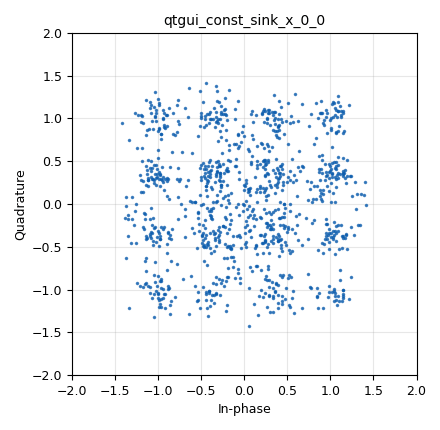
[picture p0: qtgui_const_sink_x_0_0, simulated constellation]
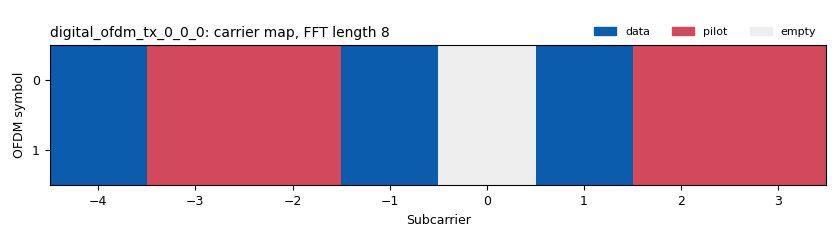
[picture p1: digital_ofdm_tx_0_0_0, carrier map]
options:
  parameters:
    author: spyr kon
    generate_options: qt_gui
    id: PanTransmitter
    output_language: python
    title: pantransmitter alpha
  states: {}

blocks:
- name: CenterFreq
  id: variable_qtgui_entry
  parameters:
    gui_hint: 3,0,1,5
    label: Center Frequency (Hz)
    type: real
    value: 915e6
  states: {}
- name: bandwidth
  id: variable_qtgui_entry
  parameters:
    gui_hint: 2,0,1,5
    label: Bandwidth (Hz)
    type: real
    value: 1e6
  states: {}
- name: cpm_BT
  id: variable_qtgui_entry
  parameters:
    gui_hint: 'tab_id@5 : 4,0,1,5'
    label: BT
    type: real
    value: '300e-3'
  states: {}
- name: cpm_en
  id: variable_qtgui_check_box
  parameters:
    'false': '0'
    gui_hint: 0,5
    label: CPM
    'true': '1'
    type: int
    value: '0'
  states: {}
- name: cpm_mod_index
  id: variable_qtgui_entry
  parameters:
    gui_hint: 'tab_id@5 : 1,0,1,5'
    label: Modulation Index
    type: real
    value: '500e-3'
  states: {}
- name: cpm_pulse_duration
  id: variable_qtgui_entry
  parameters:
    gui_hint: 'tab_id@5 : 3,0,1,5'
    label: Pulse Duration
    type: int
    value: '4'
  states: {}
- name: cpm_spsym
  id: variable_qtgui_entry
  parameters:
    gui_hint: 'tab_id@5 : 2,0,1,5'
    label: Samples Per Symbol
    type: int
    value: '4'
  states: {}
- name: fft_len
  id: variable_qtgui_entry
  parameters:
    gui_hint: 'tab_id@1 : 1,0,1,5'
    label: FFT
    type: int
    value: '8'
  states: {}
- name: gfsk_en
  id: variable_qtgui_check_box
  parameters:
    'false': '0'
    gui_hint: 0,2
    label: GFSK
    'true': '1'
    type: int
    value: '0'
  states: {}
- name: gmsk_BT
  id: variable_qtgui_entry
  parameters:
    gui_hint: 'tab_id@0 : 2,0,1,5'
    label: BT
    type: real
    value: '350e-3'
  states: {}
- name: gmsk_en
  id: variable_qtgui_check_box
  parameters:
    'false': '0'
    gui_hint: 0,0
    label: GMSK
    'true': '1'
    type: int
    value: '0'
  states: {}
- name: gmsk_samp
  id: variable_qtgui_entry
  parameters:
    gui_hint: 'tab_id@0 : 1,0,1,5'
    label: Samples Per Symbol
    type: int
    value: '2'
  states: {}
- name: occ_carr
  id: variable_qtgui_entry
  parameters:
    gui_hint: 'tab_id@1 : 3,0,1,5'
    label: Occupied carriers
    type: raw
    value: ((-4,-3,-2,-1,1,2,3,4),)
  states: {}
- name: ofdm1
  id: variable_qtgui_check_box
  parameters:
    'false': '0'
    gui_hint: 'tab_id@1 : 0,0'
    label: ofdm1
    'true': '1'
    type: int
    value: '0'
  states: {}
- name: ofdm2
  id: variable_qtgui_check_box
  parameters:
    'false': '0'
    gui_hint: 'tab_id@1 : 0,1'
    label: ofdm2
    'true': '1'
    type: int
    value: '0'
  states: {}
- name: ofdm3
  id: variable_qtgui_check_box
  parameters:
    'false': '0'
    gui_hint: 'tab_id@1 : 0,2'
    label: ofdm3
    'true': '1'
    type: int
    value: '0'
  states: {}
- name: ofdm4
  id: variable_qtgui_check_box
  parameters:
    'false': '0'
    gui_hint: 'tab_id@1 : 0,3'
    label: ofdm4
    'true': '1'
    type: int
    value: '0'
  states: {}
- name: ofdm5
  id: variable_qtgui_check_box
  parameters:
    'false': '0'
    gui_hint: 'tab_id@1 : 0,4'
    label: ofdm5
    'true': '1'
    type: int
    value: '1'
  states: {}
- name: ofdm6
  id: variable_qtgui_check_box
  parameters:
    'false': '0'
    gui_hint: 'tab_id@1 : 0,5'
    label: ofdm6
    'true': '1'
    type: int
    value: '0'
  states: {}
- name: ofdm_en
  id: variable_qtgui_check_box
  parameters:
    'false': '0'
    gui_hint: 0,1
    label: OFDM
    'true': '1'
    type: int
    value: '0'
  states: {}
- name: packet_len
  id: variable_qtgui_entry
  parameters:
    gui_hint: 'tab_id@1 : 2,0,1,5'
    label: Packet Length
    type: int
    value: '100'
  states: {}
- name: plt_carr
  id: variable_qtgui_entry
  parameters:
    gui_hint: 'tab_id@1 : 4,0,1,5'
    label: Pilot carriers
    type: raw
    value: ((-6,-5,5,6),)
  states: {}
- name: plt_smbl
  id: variable_qtgui_entry
  parameters:
    gui_hint: 'tab_id@1 : 5,0,1,5'
    label: Pilot symbols
    type: raw
    value: ((-1,1,-1,1),)
  states: {}
- name: psk_BW
  id: variable_qtgui_entry
  parameters:
    gui_hint: 'tab_id@3 : 3,0,1,5'
    label: Excess BW
    type: real
    value: '350e-3'
  states: {}
- name: psk_en
  id: variable_qtgui_check_box
  parameters:
    'false': '0'
    gui_hint: 0,3
    label: PSK
    'true': '1'
    type: int
    value: '0'
  states: {}
- name: psk_num
  id: variable_qtgui_entry
  parameters:
    gui_hint: 'tab_id@3 : 1,0,1,5'
    label: Number of points
    type: int
    value: '8'
  states: {}
- name: psk_samp_per_symb
  id: variable_qtgui_entry
  parameters:
    gui_hint: 'tab_id@3 : 2,0,1,5'
    label: Samples per Symbol
    type: int
    value: '2'
  states: {}
- name: qam_BW
  id: variable_qtgui_entry
  parameters:
    gui_hint: 'tab_id@4 : 2,0,1,5'
    label: Excess BW
    type: real
    value: '350e-3'
  states: {}
- name: qam_en
  id: variable_qtgui_check_box
  parameters:
    'false': '0'
    gui_hint: 0,4
    label: QAM
    'true': '1'
    type: int
    value: '1'
  states: {}
- name: qam_samp_per_symb
  id: variable_qtgui_entry
  parameters:
    gui_hint: 'tab_id@4 : 1,0,1,5'
    label: Samples per Symbol
    type: int
    value: '2'
  states: {}
- name: samp_rate
  id: variable_qtgui_entry
  parameters:
    gui_hint: 1,0,1,5
    label: Sample Rate (sps)
    type: real
    value: 4e6
  states: {}
- name: txpower
  id: variable_qtgui_entry
  parameters:
    gui_hint: 5,0,1,5
    label: TX Power (0-1)
    type: real
    value: '0.1'
  states: {}
- name: variable_constellation_0
  id: variable_constellation
  parameters:
    precision: '64'
    sym_map: '[0, 4, 12, 8, 1, 5, 13, 9, 3, 7, 15, 11, 2, 6, 14, 10]'
    type: 16qam
  states: {}
- name: analog_const_source_x_0
  id: analog_const_source_x
  parameters:
    const: gmsk_en
    type: complex
  states: {}
- name: analog_const_source_x_0_0
  id: analog_const_source_x
  parameters:
    const: ofdm_en
    type: complex
  states: {}
- name: analog_const_source_x_0_0_0
  id: analog_const_source_x
  parameters:
    const: gfsk_en
    type: complex
  states: {}
- name: analog_const_source_x_0_0_0_0
  id: analog_const_source_x
  parameters:
    const: qam_en
    type: complex
  states: {}
- name: analog_const_source_x_0_0_0_0_0_0_0
  id: analog_const_source_x
  parameters:
    const: psk_en
    type: complex
  states: {}
- name: analog_const_source_x_0_0_0_0_0_0_0_0
  id: analog_const_source_x
  parameters:
    const: cpm_en
    type: complex
  states: {}
- name: analog_const_source_x_0_0_1
  id: analog_const_source_x
  parameters:
    const: ofdm1
    type: complex
  states: {}
- name: analog_const_source_x_0_0_1_0
  id: analog_const_source_x
  parameters:
    const: ofdm2
    type: complex
  states: {}
- name: analog_const_source_x_0_0_1_0_0
  id: analog_const_source_x
  parameters:
    const: ofdm3
    type: complex
  states: {}
- name: analog_const_source_x_0_0_1_0_0_0
  id: analog_const_source_x
  parameters:
    const: ofdm4
    type: complex
  states: {}
- name: analog_const_source_x_0_0_1_0_0_0_0
  id: analog_const_source_x
  parameters:
    const: ofdm5
    type: complex
  states: {}
- name: analog_const_source_x_0_0_1_0_0_0_0_0
  id: analog_const_source_x
  parameters:
    const: ofdm6
    type: complex
  states: {}
- name: analog_random_source_x_0
  id: analog_random_source_x
  parameters:
    max: '255'
    min: '0'
    num_samps: '1000'
    repeat: 'True'
    type: byte
  states: {}
- name: analog_random_source_x_0_0
  id: analog_random_source_x
  parameters:
    max: '255'
    min: '0'
    num_samps: '1000'
    repeat: 'True'
    type: byte
  states: {}
- name: analog_random_source_x_0_0_0
  id: analog_random_source_x
  parameters:
    max: '255'
    min: '0'
    num_samps: '1000'
    repeat: 'True'
    type: byte
  states: {}
- name: analog_random_source_x_0_0_0_0
  id: analog_random_source_x
  parameters:
    max: '255'
    min: '0'
    num_samps: '1000'
    repeat: 'True'
    type: byte
  states: {}
- name: analog_random_source_x_0_0_0_0_0
  id: analog_random_source_x
  parameters:
    max: '255'
    min: '0'
    num_samps: '1000'
    repeat: 'True'
    type: byte
  states: {}
- name: analog_random_source_x_0_0_0_0_0_0
  id: analog_random_source_x
  parameters:
    max: '255'
    min: '0'
    num_samps: '1000'
    repeat: 'True'
    type: byte
  states: {}
- name: blocks_add_xx_0
  id: blocks_add_xx
  parameters:
    num_inputs: '6'
    type: complex
  states: {}
- name: blocks_add_xx_0_0
  id: blocks_add_xx
  parameters:
    num_inputs: '6'
    type: complex
  states: {}
- name: blocks_float_to_uchar_0
  id: blocks_float_to_uchar
  parameters: {}
  states: {state: disabled}
- name: blocks_multiply_xx_0
  id: blocks_multiply_xx
  parameters:
    type: complex
  states: {}
- name: blocks_multiply_xx_0_0
  id: blocks_multiply_xx
  parameters:
    type: complex
  states: {}
- name: blocks_multiply_xx_0_0_0
  id: blocks_multiply_xx
  parameters:
    type: complex
  states: {}
- name: blocks_multiply_xx_0_0_0_0
  id: blocks_multiply_xx
  parameters:
    type: complex
  states: {}
- name: blocks_multiply_xx_0_0_1
  id: blocks_multiply_xx
  parameters:
    type: complex
  states: {}
- name: blocks_multiply_xx_0_0_2
  id: blocks_multiply_xx
  parameters:
    type: complex
  states: {}
- name: blocks_multiply_xx_0_0_2_0
  id: blocks_multiply_xx
  parameters:
    type: complex
  states: {}
- name: blocks_multiply_xx_0_0_2_0_0
  id: blocks_multiply_xx
  parameters:
    type: complex
  states: {}
- name: blocks_multiply_xx_0_0_2_0_0_0
  id: blocks_multiply_xx
  parameters:
    type: complex
  states: {}
- name: blocks_multiply_xx_0_0_2_1
  id: blocks_multiply_xx
  parameters:
    type: complex
  states: {}
- name: blocks_multiply_xx_0_0_2_1_0
  id: blocks_multiply_xx
  parameters:
    type: complex
  states: {}
- name: blocks_multiply_xx_0_1
  id: blocks_multiply_xx
  parameters:
    type: complex
  states: {}
- name: blocks_stream_to_tagged_stream_0
  id: blocks_stream_to_tagged_stream
  parameters:
    len_tag_key: len_tag_key
    packet_len: packet_len
    type: byte
  states: {}
- name: blocks_wavfile_source_0
  id: blocks_wavfile_source
  parameters:
    file: '"/home/kwnspir/Desktop/GNU_Radio/pantransmitter alpha/Richard Wagner - Ride Of The Valkyries.wav"'
    repeat: 'True'
  states: {state: disabled}
- name: digital_constellation_modulator_0
  id: digital_constellation_modulator
  parameters:
    constellation: variable_constellation_0
    differential: 'True'
    excess_bw: qam_BW
    samples_per_symbol: qam_samp_per_symb
  states: {}
- name: digital_cpmmod_bc_0
  id: digital_cpmmod_bc
  parameters:
    L: cpm_pulse_duration
    beta: cpm_BT
    mod_index: cpm_mod_index
    samples_per_symbol: cpm_spsym
    type: analog.cpm.LREC
  states: {}
- name: digital_gfsk_mod_0
  id: digital_gfsk_mod
  parameters:
    bt: '0.35'
    samples_per_symbol: '2'
    sensitivity: '1.0'
  states: {}
- name: digital_gmsk_mod_0
  id: digital_gmsk_mod
  parameters:
    bt: gmsk_BT
    samples_per_symbol: gmsk_samp
  states: {}
- name: digital_ofdm_tx_0_0_0
  id: digital_ofdm_tx
  parameters:
    cp_len: '1'
    fft_len: fft_len
    header_mod: '"BPSK"'
    occupied_carriers: occ_carr
    packet_len_key: len_tag_key
    payload_mod: '"BPSK"'
    pilot_carriers: plt_carr
    pilot_symbols: plt_smbl
    rolloff: '0'
    sync_word1: None
    sync_word2: None
  states: {}
- name: digital_ofdm_tx_0_0_0_0
  id: digital_ofdm_tx
  parameters:
    cp_len: '1'
    fft_len: fft_len
    header_mod: '"BPSK"'
    occupied_carriers: occ_carr
    packet_len_key: len_tag_key
    payload_mod: '"QPSK"'
    pilot_carriers: plt_carr
    pilot_symbols: plt_smbl
    rolloff: '0'
    sync_word1: None
    sync_word2: None
  states: {}
- name: digital_ofdm_tx_0_0_0_0_0
  id: digital_ofdm_tx
  parameters:
    cp_len: '1'
    fft_len: fft_len
    header_mod: '"QPSK"'
    occupied_carriers: occ_carr
    packet_len_key: len_tag_key
    payload_mod: '"BPSK"'
    pilot_carriers: plt_carr
    pilot_symbols: plt_smbl
    rolloff: '0'
    sync_word1: None
    sync_word2: None
  states: {}
- name: digital_ofdm_tx_0_0_0_0_0_0
  id: digital_ofdm_tx
  parameters:
    cp_len: '1'
    fft_len: fft_len
    header_mod: '"QPSK"'
    occupied_carriers: occ_carr
    packet_len_key: len_tag_key
    payload_mod: '"8-PSK"'
    pilot_carriers: plt_carr
    pilot_symbols: plt_smbl
    rolloff: '0'
    sync_word1: None
    sync_word2: None
  states: {}
- name: digital_ofdm_tx_0_0_0_1
  id: digital_ofdm_tx
  parameters:
    cp_len: '1'
    fft_len: fft_len
    header_mod: '"BPSK"'
    occupied_carriers: occ_carr
    packet_len_key: len_tag_key
    payload_mod: '"8-PSK"'
    pilot_carriers: plt_carr
    pilot_symbols: plt_smbl
    rolloff: '0'
    sync_word1: None
    sync_word2: None
  states: {}
- name: digital_ofdm_tx_0_0_0_1_0
  id: digital_ofdm_tx
  parameters:
    cp_len: '1'
    fft_len: fft_len
    header_mod: '"QPSK"'
    occupied_carriers: occ_carr
    packet_len_key: len_tag_key
    payload_mod: '"QPSK"'
    pilot_carriers: plt_carr
    pilot_symbols: plt_smbl
    rolloff: '0'
    sync_word1: None
    sync_word2: None
  states: {}
- name: digital_psk_mod_0
  id: digital_psk_mod
  parameters:
    constellation_points: psk_num
    differential: 'True'
    excess_bw: psk_BW
    mod_code: '"none"'
    samples_per_symbol: psk_samp_per_symb
  states: {}
- name: qtgui_const_sink_x_0_0
  id: qtgui_const_sink_x
  parameters:
    gui_hint: 7,0,3,3
    size: '1024'
    type: complex
  states: {}
- name: tab_id
  id: qtgui_tab_widget
  parameters:
    gui_hint: 6,0,1,5
    label0: GMSK
    label1: OFDM
    label2: GFSK
    label3: PSK
    label4: QAM
    label5: CPM
    label6: Info
    num_tabs: '7'
  states: {}
- name: uhd_usrp_sink_0
  id: uhd_usrp_sink
  parameters:
    ant0: TX/RX
    bw0: bandwidth
    center_freq0: CenterFreq
    dev_addr: '"addr=192.168.10.2"'
    dev_args: '""'
    gain0: txpower
    len_tag_name: ''
    norm_gain0: 'True'
    samp_rate: samp_rate
    sync: pc_clock
    type: fc32
  states: {state: disabled}

connections:
- [analog_const_source_x_0, '0', blocks_multiply_xx_0, '0']
- [analog_const_source_x_0_0, '0', blocks_multiply_xx_0_0, '0']
- [analog_const_source_x_0_0_0, '0', blocks_multiply_xx_0_0_0, '0']
- [analog_const_source_x_0_0_0_0, '0', blocks_multiply_xx_0_1, '0']
- [analog_const_source_x_0_0_0_0_0_0_0, '0', blocks_multiply_xx_0_0_1, '0']
- [analog_const_source_x_0_0_0_0_0_0_0_0, '0', blocks_multiply_xx_0_0_0_0, '0']
- [analog_const_source_x_0_0_1, '0', blocks_multiply_xx_0_0_2, '0']
- [analog_const_source_x_0_0_1_0, '0', blocks_multiply_xx_0_0_2_0, '0']
- [analog_const_source_x_0_0_1_0_0, '0', blocks_multiply_xx_0_0_2_1, '0']
- [analog_const_source_x_0_0_1_0_0_0, '0', blocks_multiply_xx_0_0_2_0_0, '0']
- [analog_const_source_x_0_0_1_0_0_0_0, '0', blocks_multiply_xx_0_0_2_1_0, '0']
- [analog_const_source_x_0_0_1_0_0_0_0_0, '0', blocks_multiply_xx_0_0_2_0_0_0, '0']
- [analog_random_source_x_0, '0', digital_gmsk_mod_0, '0']
- [analog_random_source_x_0_0, '0', blocks_stream_to_tagged_stream_0, '0']
- [analog_random_source_x_0_0_0, '0', digital_gfsk_mod_0, '0']
- [analog_random_source_x_0_0_0_0, '0', digital_constellation_modulator_0, '0']
- [analog_random_source_x_0_0_0_0_0, '0', digital_cpmmod_bc_0, '0']
- [analog_random_source_x_0_0_0_0_0_0, '0', digital_psk_mod_0, '0']
- [blocks_add_xx_0, '0', qtgui_const_sink_x_0_0, '0']
- [blocks_add_xx_0, '0', uhd_usrp_sink_0, '0']
- [blocks_add_xx_0_0, '0', blocks_multiply_xx_0_0, '1']
- [blocks_float_to_uchar_0, '0', blocks_stream_to_tagged_stream_0, '0']
- [blocks_float_to_uchar_0, '0', digital_constellation_modulator_0, '0']
- [blocks_float_to_uchar_0, '0', digital_cpmmod_bc_0, '0']
- [blocks_float_to_uchar_0, '0', digital_gfsk_mod_0, '0']
- [blocks_float_to_uchar_0, '0', digital_gmsk_mod_0, '0']
- [blocks_float_to_uchar_0, '0', digital_psk_mod_0, '0']
- [blocks_multiply_xx_0, '0', blocks_add_xx_0, '0']
- [blocks_multiply_xx_0_0, '0', blocks_add_xx_0, '5']
- [blocks_multiply_xx_0_0_0, '0', blocks_add_xx_0, '2']
- [blocks_multiply_xx_0_0_0_0, '0', blocks_add_xx_0, '1']
- [blocks_multiply_xx_0_0_1, '0', blocks_add_xx_0, '4']
- [blocks_multiply_xx_0_0_2, '0', blocks_add_xx_0_0, '0']
- [blocks_multiply_xx_0_0_2_0, '0', blocks_add_xx_0_0, '1']
- [blocks_multiply_xx_0_0_2_0_0, '0', blocks_add_xx_0_0, '3']
- [blocks_multiply_xx_0_0_2_0_0_0, '0', blocks_add_xx_0_0, '5']
- [blocks_multiply_xx_0_0_2_1, '0', blocks_add_xx_0_0, '2']
- [blocks_multiply_xx_0_0_2_1_0, '0', blocks_add_xx_0_0, '4']
- [blocks_multiply_xx_0_1, '0', blocks_add_xx_0, '3']
- [blocks_stream_to_tagged_stream_0, '0', digital_ofdm_tx_0_0_0, '0']
- [blocks_stream_to_tagged_stream_0, '0', digital_ofdm_tx_0_0_0_0, '0']
- [blocks_stream_to_tagged_stream_0, '0', digital_ofdm_tx_0_0_0_0_0, '0']
- [blocks_stream_to_tagged_stream_0, '0', digital_ofdm_tx_0_0_0_0_0_0, '0']
- [blocks_stream_to_tagged_stream_0, '0', digital_ofdm_tx_0_0_0_1, '0']
- [blocks_stream_to_tagged_stream_0, '0', digital_ofdm_tx_0_0_0_1_0, '0']
- [blocks_wavfile_source_0, '0', blocks_float_to_uchar_0, '0']
- [digital_constellation_modulator_0, '0', blocks_multiply_xx_0_1, '1']
- [digital_cpmmod_bc_0, '0', blocks_multiply_xx_0_0_0_0, '1']
- [digital_gfsk_mod_0, '0', blocks_multiply_xx_0_0_0, '1']
- [digital_gmsk_mod_0, '0', blocks_multiply_xx_0, '1']
- [digital_ofdm_tx_0_0_0, '0', blocks_multiply_xx_0_0_2, '1']
- [digital_ofdm_tx_0_0_0_0, '0', blocks_multiply_xx_0_0_2_0, '1']
- [digital_ofdm_tx_0_0_0_0_0, '0', blocks_multiply_xx_0_0_2_0_0, '1']
- [digital_ofdm_tx_0_0_0_0_0_0, '0', blocks_multiply_xx_0_0_2_0_0_0, '1']
- [digital_ofdm_tx_0_0_0_1, '0', blocks_multiply_xx_0_0_2_1, '1']
- [digital_ofdm_tx_0_0_0_1_0, '0', blocks_multiply_xx_0_0_2_1_0, '1']
- [digital_psk_mod_0, '0', blocks_multiply_xx_0_0_1, '1']

metadata:
  file_format: 1
